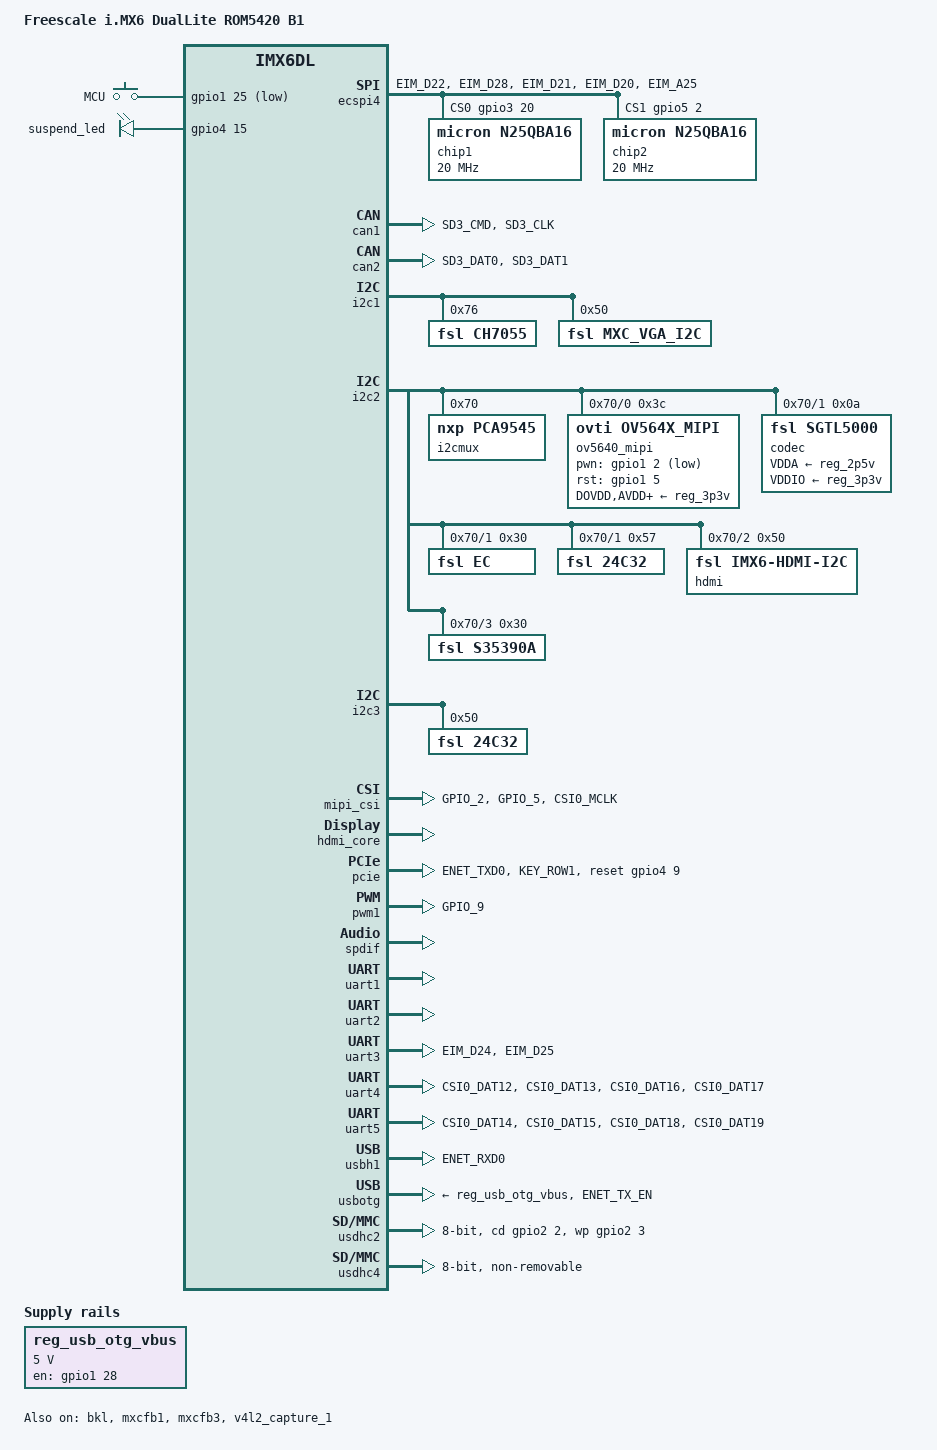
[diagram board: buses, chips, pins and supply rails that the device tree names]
/*
 * Copyright 2012 Freescale Semiconductor, Inc.
 * Copyright 2011 Linaro Ltd.
 *
 * The code contained herein is licensed under the GNU General Public
 * License. You may obtain a copy of the GNU General Public License
 * Version 2 or later at the following locations:
 *
 * http://www.opensource.org/licenses/gpl-license.html
 * http://www.gnu.org/copyleft/gpl.html
 */

/dts-v1/;

#include "imx6dl.dtsi"
#include "imx6qdl-advantech.dtsi"

/ {
	model = "Freescale i.MX6 DualLite ROM5420 B1";
	compatible = "fsl,imx6dl-sabresd", "fsl,imx6dl";

	aliases {
                i2c3; /* Disabled i2c3 in imx6dl.dtsi */
        };

	board {
		compatible = "proc-board";
		board-type = "ROM-5420 B1";
		board-cpu = "DualLiteSolo";
	};

	regulators {

		reg_usb_otg_vbus: usb_otg_vbus {
			compatible = "regulator-fixed";
			regulator-name = "usb_otg_vbus";
			regulator-min-microvolt = <5000000>;
			regulator-max-microvolt = <5000000>;
			gpio = <&gpio1 28  GPIO_ACTIVE_HIGH>;
			enable-active-high;
		};
	};

	gpio-keys {
		pinctrl-names = "default";
		pinctrl-0 = <&pinctrl_gpio_sleep_1>;
		compatible = "gpio-keys";
		mcu {
			label = "MCU";
			gpios = <&gpio1 25 1>; /* active low */
			linux,input-type = <1>;	/* EV_KEY */
			linux,code = <116>;	/* KEY_POWER */
			debounce_interval = <1>;
			gpio-key,wakeup;
		};
	};

	sound-spdif {
		compatible = "fsl,imx-audio-spdif",
			   "fsl,imx6q-spdif";
		model = "imx-spdif";
		spdif-controller = <&spdif>;
		spdif-out;
		spdif-in;
	};

	leds {
		compatible = "gpio-leds";
		pinctrl-names = "default";
		pinctrl-0 = <&pinctrl_leds_suspend_1>;
		suspend-led {	/* STBY_LED */
			label = "suspend_led";
			gpios = <&gpio4 15 0>;
			linux,default-trigger = "default-on";
			default-state = "on";
		};
	};
};

&audio_sgtl5000 {
	audio-codec = <&codec>;
};

&bkl {
	lvds-bkl-enable = <&gpio4 6 1>;
	lvds-vcc-enable = <&gpio4 7 1>;
	pwms = <&pwm1 0 5000000>;
	status = "okay";
};

&ecspi4 {
	fsl,spi-num-chipselects = <2>;
	cs-gpios = <&gpio3 20 0>, <&gpio5 2 0>;
	pinctrl-names = "default";
	pinctrl-0 = <&pinctrl_ecspi4_1 &pinctrl_ecspi4_cs_0 &pinctrl_ecspi4_cs_1>;
	status = "okay";

	chip1: m25p80@0 {
		compatible = "micron,n25qba16";
		spi-max-frequency = <20000000>;
		reg = <0>;
	};
	chip2: m25p80@1 {
		compatible = "micron,n25qba16";
		spi-max-frequency = <20000000>;
		reg = <1>;
	};
};

&can1 {
	pinctrl-names = "default";
	pinctrl-0 = <&pinctrl_flexcan1_1>;
	status = "okay";
};

&can2 {
	pinctrl-names = "default";
	pinctrl-0 = <&pinctrl_flexcan2_1>;
	status = "okay";
};

&i2c1 {

	ch7055@76 {
		compatible = "fsl,ch7055";
		reg = <0x76>;
	};

	mxc_vga_i2c@50 {
		compatible = "fsl,mxc_vga_i2c";
		reg = <0x50>;
	};
};

&i2c2 {

	i2cmux@70 {
		#address-cells = <1>;
		#size-cells = <0>;
		compatible = "nxp,pca9545";
		reg = <0x70>;

		i2c2@0 {
			reg = <0>;
			#address-cells = <1>;
			#size-cells = <0>;

			ov5640_mipi: ov5640_mipi@3c {
				compatible = "ovti,ov564x_mipi";
				reg = <0x3c>;
				clocks = <&clks 201>;
				clock-names = "csi_mclk";
				DOVDD-supply = <&reg_3p3v>; /* 3.3v, enabled via 2.8 VGEN6 */
				AVDD-supply = <&reg_3p3v>;  /* 1.8v */
				DVDD-supply = <&reg_3p3v>;  /* 1.8v */
				PVDD-supply = <&reg_3p3v>;  /* 1.8v */
				pwn-gpios = <&gpio1 2 1>;   /* active low: SD1_CLK */
				rst-gpios = <&gpio1 5 0>;   /* active high: SD1_DAT2 */
				csi_id = <1>;
				mclk = <24000000>;
				mclk_source = <0>;
			};
		};

		i2c2@1 {
			reg = <1>;
			#address-cells = <1>;
			#size-cells = <0>;

			codec: sgtl5000@0a {
				compatible = "fsl,sgtl5000";
				reg = <0x0a>;
				clocks = <&clks 201>;
				VDDA-supply = <&reg_2p5v>;
				VDDIO-supply = <&reg_3p3v>;
				mclk = <16000000>;
				mclk_source = <0>;
			};

			ec@30 {
				compatible = "fsl,ec";
				reg = <0x30>;
			};

			24c32@57 {
				compatible = "fsl,24c32";
				reg = <0x57>;
			};
		};

		i2c2@2 {
			reg = <2>;
			#address-cells = <1>;
			#size-cells = <0>;

			hdmi: edid@50 {
				compatible = "fsl,imx6-hdmi-i2c";
				reg = <0x50>;
			};
		};

		i2c2@3 {
			reg = <3>;
			#address-cells = <1>;
			#size-cells = <0>;

			s35390a@30 {
				compatible = "fsl,s35390a";
				reg = <0x30>;
			};
		};
	};
};

&i2c3 {

	24c32@50 {
		compatible = "fsl,24c32";
		reg = <0x50>;
	};
};

&iomuxc {
	pinctrl-names = "default";
	pinctrl-0 = <&pinctrl_hog_1 &pinctrl_hog_2>;

	can1 {
		pinctrl_flexcan1_1: flexcan1grp-1 {
			fsl,pins = <
				MX6QDL_PAD_SD3_CMD__FLEXCAN1_TX		0x80000000
				MX6QDL_PAD_SD3_CLK__FLEXCAN1_RX		0x80000000
			>;
		};
	};

	can2 {
		pinctrl_flexcan2_1: flexcan2grp-1 {
			fsl,pins = <
				MX6QDL_PAD_SD3_DAT0__FLEXCAN2_TX	0x80000000
				MX6QDL_PAD_SD3_DAT1__FLEXCAN2_RX	0x80000000
			>;
		};
	};

	gpio-keys {
		pinctrl_gpio_sleep_1: gpio_sleep1grp-1 {
			fsl,pins = <
				MX6QDL_PAD_ENET_CRS_DV__GPIO1_IO25	0x80000000	/* SLEEP Button */
			>;
		};
	};

	hog {
		pinctrl_hog_2: hoggrp-2 {
			fsl,pins = <
				MX6QDL_PAD_GPIO_1__GPIO1_IO01		0x80000000	/* GPIO0 */
				MX6QDL_PAD_GPIO_4__GPIO1_IO04		0x80000000	/* GPIO2 */
				MX6QDL_PAD_GPIO_18__GPIO7_IO13		0x80000000	/* GPIO4 */
				MX6QDL_PAD_SD1_DAT3__GPIO1_IO21		0x80000000	/* GPIO5 */
				MX6QDL_PAD_SD3_DAT2__GPIO7_IO06		0x80000000	/* GPIO6 */
				MX6QDL_PAD_SD3_DAT3__GPIO7_IO07		0x80000000	/* GPIO7 */
				MX6QDL_PAD_SD3_DAT4__GPIO7_IO01		0x80000000	/* GPIO8 */
				MX6QDL_PAD_SD3_DAT5__GPIO7_IO00		0x80000000	/* GPIO9 */
				MX6QDL_PAD_SD3_DAT6__GPIO6_IO18		0x80000000	/* GPIO10 */
				MX6QDL_PAD_SD3_DAT7__GPIO6_IO17		0x80000000	/* GPIO11 */
				MX6QDL_PAD_NANDF_D0__GPIO2_IO00		0x80000000	/* Battery CHARGER_PRSN */
				MX6QDL_PAD_NANDF_CLE__GPIO6_IO07	0x80000000	/* Battery BATLOW */
				MX6QDL_PAD_NANDF_RB0__GPIO6_IO10	0x80000000	/* Battery CHARGING */
			>;
		};
	};
	
	ipu1 {
		pinctrl_ipu1_4: ipu1grp-4 {
			fsl,pins = <
				MX6QDL_PAD_DI0_DISP_CLK__IPU1_DI0_DISP_CLK 0xE9
				MX6QDL_PAD_DI0_PIN15__IPU1_DI0_PIN15       0xE9
				MX6QDL_PAD_DI0_PIN2__IPU1_DI0_PIN02        0xE9
				MX6QDL_PAD_DI0_PIN3__IPU1_DI0_PIN03        0xE9
				MX6QDL_PAD_DI0_PIN4__IPU1_DI0_PIN04        0x80000000
				MX6QDL_PAD_DISP0_DAT0__IPU1_DISP0_DATA00   0xE9
				MX6QDL_PAD_DISP0_DAT1__IPU1_DISP0_DATA01   0xE9
				MX6QDL_PAD_DISP0_DAT2__IPU1_DISP0_DATA02   0xE9
				MX6QDL_PAD_DISP0_DAT3__IPU1_DISP0_DATA03   0xE9
				MX6QDL_PAD_DISP0_DAT4__IPU1_DISP0_DATA04   0xE9
				MX6QDL_PAD_DISP0_DAT5__IPU1_DISP0_DATA05   0xE9
				MX6QDL_PAD_DISP0_DAT6__IPU1_DISP0_DATA06   0xE9
				MX6QDL_PAD_DISP0_DAT7__IPU1_DISP0_DATA07   0xE9
				MX6QDL_PAD_DISP0_DAT8__IPU1_DISP0_DATA08   0xE9
				MX6QDL_PAD_DISP0_DAT9__IPU1_DISP0_DATA09   0xE9
				MX6QDL_PAD_DISP0_DAT10__IPU1_DISP0_DATA10  0xE9
				MX6QDL_PAD_DISP0_DAT11__IPU1_DISP0_DATA11  0xE9
				MX6QDL_PAD_DISP0_DAT12__IPU1_DISP0_DATA12  0xE9
				MX6QDL_PAD_DISP0_DAT13__IPU1_DISP0_DATA13  0xE9
				MX6QDL_PAD_DISP0_DAT14__IPU1_DISP0_DATA14  0xE9
				MX6QDL_PAD_DISP0_DAT15__IPU1_DISP0_DATA15  0xE9
				MX6QDL_PAD_DISP0_DAT16__IPU1_DISP0_DATA16  0xE9
				MX6QDL_PAD_DISP0_DAT17__IPU1_DISP0_DATA17  0xE9
				MX6QDL_PAD_DISP0_DAT18__IPU1_DISP0_DATA18  0xE9
				MX6QDL_PAD_DISP0_DAT19__IPU1_DISP0_DATA19  0xE9
				MX6QDL_PAD_DISP0_DAT20__IPU1_DISP0_DATA20  0xE9
				MX6QDL_PAD_DISP0_DAT21__IPU1_DISP0_DATA21  0xE9
				MX6QDL_PAD_DISP0_DAT22__IPU1_DISP0_DATA22  0xE9
				MX6QDL_PAD_DISP0_DAT23__IPU1_DISP0_DATA23  0xE9
			>;
		};
	};


	leds {
		pinctrl_leds_suspend_1: leds_suspend1grp-1{
			fsl,pins = <
				MX6QDL_PAD_KEY_ROW4__GPIO4_IO15		0x80000000	/* Suspend LED */
			>;
		};
	};

	mipi-csi {
		pinctrl_mipi_csi_1: mipi_csi1grp-1{
			fsl,pins = <
				MX6QDL_PAD_GPIO_2__GPIO1_IO02		0x80000000	/* GPIO1=MIPICSI_PWN */
				MX6QDL_PAD_GPIO_5__GPIO1_IO05		0x80000000	/* GPIO3=MIPICSI_RST */
				MX6QDL_PAD_CSI0_MCLK__CCM_CLKO1		0x80000000	/* CSI0_MCLK */
			>;
		};
	};

	pcie {
		pinctrl_pcie_1: pcie1grp-1 {
			fsl,pins = <
				MX6QDL_PAD_ENET_TXD0__GPIO1_IO30	0x80000000	/* PCIE_WAKE */
				MX6QDL_PAD_KEY_ROW1__GPIO4_IO09		0x80000000	/* PCIE_RST */
			>;
		};
	};

	pwm1 {
		pinctrl_pwm1_1: pwm1grp-1 {
			fsl,pins = <
				MX6QDL_PAD_GPIO_9__PWM1_OUT			0x1b0b1
			>;
		};
	};


	spi1 {
		pinctrl_ecspi1_cs_0: ecspi1_cs_grp-0 {
			fsl,pins = <
				MX6QDL_PAD_EIM_EB2__GPIO2_IO30		0x80000000	/* ECSPI1_CS0 */
			>;
		};
	};

	spi4 {
		pinctrl_ecspi4_cs_0: ecspi4_cs_grp-0 {
			fsl,pins = <
				 MX6QDL_PAD_EIM_D20__GPIO3_IO20		0x80000000	/* ECSPI4_CS0 */
			>;
		};

		pinctrl_ecspi4_cs_1: ecspi4_cs_grp-1 {
			fsl,pins = <
				MX6QDL_PAD_EIM_A25__GPIO5_IO02		0x80000000	/* ECSPI4_CS1 */
			>;
		};

		pinctrl_ecspi4_1: ecspi4grp-1 {
			fsl,pins = <
				MX6QDL_PAD_EIM_D22__ECSPI4_MISO		0x170f1
				MX6QDL_PAD_EIM_D28__ECSPI4_MOSI		0x1B008
				MX6QDL_PAD_EIM_D21__ECSPI4_SCLK		0x170f1
			>;
		};
	};


	uart3 {
		pinctrl_uart3_1: uart3grp-1 {
			fsl,pins = <
				MX6QDL_PAD_EIM_D24__UART3_TX_DATA	0x1b0b1
				MX6QDL_PAD_EIM_D25__UART3_RX_DATA	0x1b0b1
			>;
		};
	};

	uart4 {
		pinctrl_uart4_1: uart4grp-1 {
			fsl,pins = <
				MX6QDL_PAD_CSI0_DAT12__UART4_TX_DATA	0x1b0b1
				MX6QDL_PAD_CSI0_DAT13__UART4_RX_DATA	0x1b0b1
				MX6QDL_PAD_CSI0_DAT16__UART4_RTS_B		0x1b0b1
				MX6QDL_PAD_CSI0_DAT17__UART4_CTS_B		0x1b0b1
			>;
		};
	};

	uart5 {
		pinctrl_uart5_1: uart5grp-1 {
			fsl,pins = <
				MX6QDL_PAD_CSI0_DAT14__UART5_TX_DATA	0x1b0b1
				MX6QDL_PAD_CSI0_DAT15__UART5_RX_DATA	0x1b0b1
				MX6QDL_PAD_CSI0_DAT18__UART5_RTS_B		0x1b0b1
				MX6QDL_PAD_CSI0_DAT19__UART5_CTS_B		0x1b0b1
			>;
		};
	};

	usbotg {
                pinctrl_usbotg_3: usbh1_grp-3 {
                        fsl,pins = <
                                MX6QDL_PAD_ENET_TX_EN__GPIO1_IO28       0x80000000      /* USB0_EN_OC */
                        >;
                };
	};

	usbh1 {
		pinctrl_usbh1_1: usbh1_grp-1 {
			fsl,pins = <
				MX6QDL_PAD_ENET_RXD0__GPIO1_IO27	0x80000000	/* USB1_EN_OC */
			>;
		};
	};
	
};

&lcd {
	pinctrl-0 = <&pinctrl_ipu1_4>;
	status = "disabled";
};

&ldb {
        lvds-channel@0 {
                crtc = "ipu1-di0";
        };

        lvds-channel@1 {
		status ="disabled";
        };
};

&mipi_csi {
	pinctrl-names = "default";
	pinctrl-0 = <&pinctrl_mipi_csi_1>;
	status = "okay";
};

&hdmi_core {
        ipu_id = <0>;
        disp_id = <1>;
        status = "okay";
};


&mxcfb1 {
	status = "okay";
};

&mxcfb3 {
	status = "okay";
};

&pcie {
	pinctrl-names = "default";
	pinctrl-0 = <&pinctrl_pcie_1>;
	power-on-gpio = <&gpio1 30 0>;
	reset-gpio = <&gpio4 9 0>;
	status = "okay";
};

&pwm1 {
	pinctrl-names = "default";
	pinctrl-0 = <&pinctrl_pwm1_1>;
	status = "okay";
};



&spdif {
	pinctrl-names = "default";
	pinctrl-0 = <&pinctrl_spdif_2>;
        assigned-clocks = <&clks IMX6QDL_CLK_SPDIF_SEL>,
                          <&clks IMX6QDL_CLK_SPDIF_PODF>;
        assigned-clock-parents = <&clks IMX6QDL_CLK_PLL3_PFD3_454M>;
        assigned-clock-rates = <0>, <64962406>;

	status = "okay";
};

&uart1 {
	pinctrl-names = "default";
	pinctrl-0 = <&pinctrl_uart1_1>;
	status = "okay";
};

&uart2 {
	pinctrl-names = "default";
	pinctrl-0 = <&pinctrl_uart2_1>;
	status = "okay";
};

&uart3 {
	pinctrl-names = "default";
	pinctrl-0 = <&pinctrl_uart3_1>;
	status = "okay";
};

&uart4 {
	pinctrl-names = "default";
	pinctrl-0 = <&pinctrl_uart4_1>;
	status = "okay";
};

&uart5 {
	pinctrl-names = "default";
	pinctrl-0 = <&pinctrl_uart5_1>;
	fsl,uart-has-rtscts;
	status = "okay";
};

&usbh1 {
	pinctrl-names = "default";
	pinctrl-0 = <&pinctrl_usbh1_1>;
	status = "okay";
};

&usbotg {
	pinctrl-names = "default";
	pinctrl-0 = <&pinctrl_usbotg_2 &pinctrl_usbotg_3>;
	vbus-supply = <&reg_usb_otg_vbus>;
	imx6-usb-charger-detection;
	status = "okay";
};

&usdhc2 {
	pinctrl-names = "default";
	pinctrl-0 = <&pinctrl_usdhc2_1>;
	bus-width = <8>;
	cd-gpios = <&gpio2 2 0>;
	wp-gpios = <&gpio2 3 0>;
	status = "okay";
};

&usdhc4 {
	pinctrl-names = "default";
	pinctrl-0 = <&pinctrl_usdhc4_1>;
	bus-width = <8>;
	non-removable;
	no-1-8-v;
	status = "okay";
};

&v4l2_capture_1 {
	status = "okay";
};
